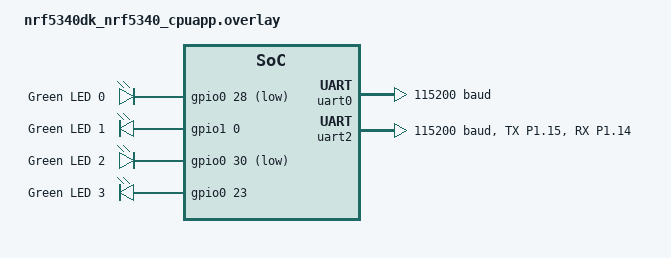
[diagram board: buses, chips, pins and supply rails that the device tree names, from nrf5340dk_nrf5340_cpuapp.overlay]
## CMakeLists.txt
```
# SPDX-License-Identifier: Apache-2.0

cmake_minimum_required(VERSION 3.20.0)

find_package(Zephyr REQUIRED HINTS $ENV{ZEPHYR_BASE})
project(ECHO_BOT)

target_sources(app PRIVATE src/main.c)
```

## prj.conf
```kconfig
CONFIG_SERIAL=y
CONFIG_UART_INTERRUPT_DRIVEN=y
CONFIG_LOG=y
CONFIG_GPIO=y
CONFIG_FPU=y
```

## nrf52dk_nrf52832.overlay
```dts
&uart0 {
    status="okay";
    current-speed=<115200>;
};
```

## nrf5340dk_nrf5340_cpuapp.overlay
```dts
&uart0 {
    status="okay";
    current-speed=<115200>;
};


&pinctrl {
    uart2_default: uart2_default {
      group1 {
        psels = <NRF_PSEL(UART_TX, 1, 15)>;
      };
      group2 {
        psels = <NRF_PSEL(UART_RX, 1, 14)>;
        bias-pull-up;
      };
    };
  
    uart2_sleep: uart2_sleep {
      group1 {
        psels = <NRF_PSEL(UART_TX, 1, 15)>,
            <NRF_PSEL(UART_RX,1, 14)>;
        low-power-enable;
      };
    };
  };
  
  &uart2 {
	compatible = "nordic,nrf-uarte";
  status = "okay";
  label = "UART_2";
	current-speed = <115200>;
	pinctrl-0 = <&uart2_default>;
	pinctrl-1 = <&uart2_sleep>;
	pinctrl-names = "default", "sleep";
};


/ {


	leds {
		compatible = "gpio-leds";
		led0: led_0 {
			gpios = <&gpio0 28 GPIO_ACTIVE_LOW>;
			label = "Green LED 0";
		};
		led1: led_1 {
			gpios = <&gpio1 0 GPIO_ACTIVE_HIGH>;
			label = "Green LED 1";
		};
		led2: led_2 {
			gpios = <&gpio0 30 GPIO_ACTIVE_LOW>;
			label = "Green LED 2";
		};
		led3: led_3 {
			gpios = <&gpio0 23 GPIO_ACTIVE_HIGH>;
			label = "Green LED 3";
		};
	};

};
```

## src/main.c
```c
#include <zephyr/kernel.h>
#include <zephyr/device.h>
#include <zephyr/drivers/uart.h>
#include <zephyr/kernel.h>
#include <zephyr/storage/disk_access.h>
#include <zephyr/sys/printk.h>
#include <string.h>
#include <stdint.h>
#include <zephyr/logging/log.h>
#include <zephyr/device.h>
#include <zephyr/drivers/uart.h>
#include <stdio.h>
#include <zephyr/drivers/gpio.h>
#include <stdlib.h>
#include <zephyr/drivers/sensor.h>
#include <zephyr/sys/reboot.h>
#include <zephyr/sys/poweroff.h>

#include <string.h>

/* change this to any other UART peripheral if desired */
#define UART_DEVICE_NODE DT_NODELABEL(uart2)

#define LED1_NODE DT_ALIAS(led1)
static const struct gpio_dt_spec led1 = GPIO_DT_SPEC_GET(LED1_NODE, gpios);

#define LED3_NODE DT_ALIAS(led3)
static const struct gpio_dt_spec led3 = GPIO_DT_SPEC_GET(LED3_NODE, gpios);

#define MSG_SIZE 64

/* queue to store up to 10 messages (aligned to 4-byte boundary) */
K_MSGQ_DEFINE(uart_msgq, MSG_SIZE, 10, 4);

static const struct device *const uart_dev = DEVICE_DT_GET(UART_DEVICE_NODE);

/* receive buffer used in UART ISR callback */
static char rx_buf[MSG_SIZE];
static int rx_buf_pos;

void load_switch_on(void)
{
        gpio_pin_configure_dt(&led3, GPIO_OUTPUT | GPIO_ACTIVE_HIGH);
        gpio_pin_set_dt(&led3, 1);
		k_msleep(100);
        printf("Load switch: Power ON");
}

void load_switch_off(void)
{
        gpio_pin_configure_dt(&led3, GPIO_OUTPUT | GPIO_ACTIVE_HIGH);
        gpio_pin_set_dt(&led3, 0);
        printf("Load switch: Power OFF");
}

void gsm_enable(void)
{
		gpio_pin_configure_dt(&led1, GPIO_OUTPUT | GPIO_ACTIVE_HIGH);
		gpio_pin_set_dt(&led1, 1);
		k_msleep(100);
		printf("GSM Module: ENABLED");
}


void serial_cb(const struct device *dev, void *user_data)
{
	uint8_t c;

	if (!uart_irq_update(uart_dev))
	{
		return;
	}

	if (!uart_irq_rx_ready(uart_dev))
	{
		return;
	}

	while (uart_fifo_read(uart_dev, &c, 1) == 1)
	{
		if ((c == '\n' || c == '\r') && rx_buf_pos > 0)
		{
			rx_buf[rx_buf_pos] = '\0';

			k_msgq_put(&uart_msgq, &rx_buf, K_NO_WAIT);

			rx_buf_pos = 0;
		}
		else if (rx_buf_pos < (sizeof(rx_buf) - 1))
		{
			rx_buf[rx_buf_pos++] = c;
		}
	}
}

void print_uart(uint8_t *buf)
{
	int msg_len = strlen(buf);

	for (int i = 0; i < msg_len; i++)
	{
		uart_poll_out(uart_dev, buf[i]);
		printk("%d", buf[i]);
	}
}

int main(void)
{
	load_switch_on();
	k_msleep(1000);
	// gsm_enable();
	k_msleep(1000);

	if (!device_is_ready(uart_dev))
	{
		printk("UART device not found!");
		return 0;
	}

	/* configure interrupt and callback to receive data */
	int ret = uart_irq_callback_user_data_set(uart_dev, serial_cb, NULL);

	if (ret < 0)
	{
		if (ret == -ENOTSUP)
		{
			printk("Interrupt-driven UART API support not enabled\n");
		}
		else if (ret == -ENOSYS)
		{
			printk("UART device does not support interrupt-driven API\n");
		}
		else
		{
			printk("Error setting UART callback: %d\n", ret);
		}
		return 0;
	}
	uart_irq_rx_enable(uart_dev);
	printk("UART echo bot started.\r\n");
	while (1)
	{
		// Print raw buffer
		for (size_t i = 0; i < sizeof(rx_buf); i++)
		{
			if (rx_buf[i] != '\0')
				printk("%c", rx_buf[i]);
			else
				printk(" ");
		}
		printk("\n");

		/* -------------------- FIND "WS," -------------------- */
		int ws_start = -1;
		for (int i = 0; i < sizeof(rx_buf) - 3; i++)
		{
			if (rx_buf[i] == 'W' && rx_buf[i+1] == 'S' && rx_buf[i+2] == ',')
			{
				ws_start = i + 3;   // skip "WS,"
				break;
			}
		}

		/* -------------------- FIND WIND SPEED END (',') -------------------- */
		int ws_end = ws_start;
		while (rx_buf[ws_end] != ',' && rx_buf[ws_end] != '\0')
			ws_end++;

		/* -------------------- FIND "WD," -------------------- */
		int wd_start = -1;
		for (int i = 0; i < sizeof(rx_buf) - 3; i++)
		{
			if (rx_buf[i] == 'W' && rx_buf[i+1] == 'D' && rx_buf[i+2] == ',')
			{
				wd_start = i + 3;   // skip "WD,"
				break;
			}
		}

		/* -------------------- FIND WIND DIRECTION DECIMAL -------------------- */
		int dot = wd_start;
		while (rx_buf[dot] != '.' && rx_buf[dot] != '\0')
			dot++;

		/* -------------------- PRINT WIND SPEED -------------------- */
		printk("Wind Speed: ");
		for (int i = ws_start; i < ws_end; i++)
			printk("%c", rx_buf[i]);
		printk(" m/s\n");

		/* -------------------- PRINT WIND DIRECTION (1 DECIMAL) -------------------- */
		printk("Wind Direction: ");
		for (int i = wd_start; i < dot; i++)
			printk("%c", rx_buf[i]);

		// Print one decimal digit
		printk(".%c°\n", rx_buf[dot+1]);

		k_msleep(5000);
	}
	// return 0;
}
```
